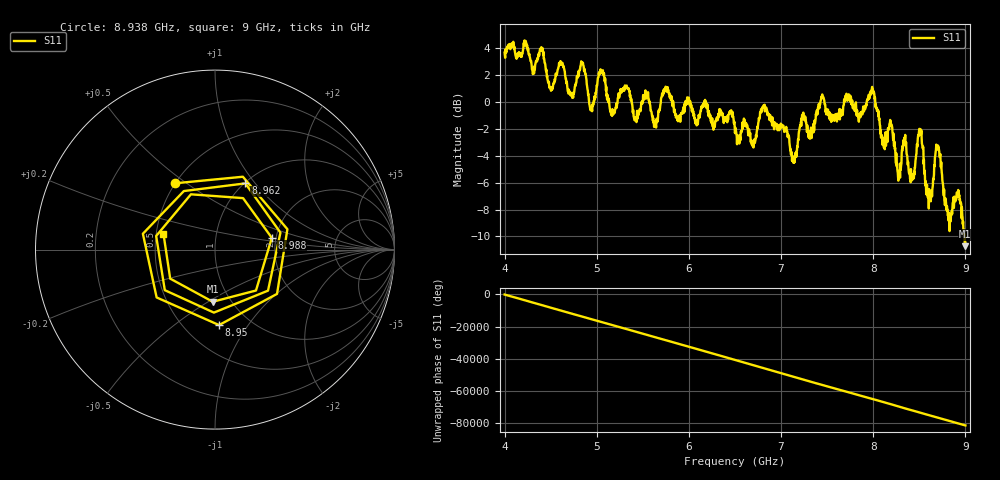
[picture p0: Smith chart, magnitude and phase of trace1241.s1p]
! Created with skrf 1.8.0 (http://scikit-rf.org).
# Hz S RI R 50.0
!freq ReS11 ImS11
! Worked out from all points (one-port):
!   1601 points, 4 GHz to 9 GHz, reference 50 ohm
!   lowest |S11| = -10.7 dB at 8.994 GHz (marker M1), VSWR 1.82, Z = 41.3 - j26.2 ohm
!   |S11| at or under -10 dB: 8.991577 GHz to end of sweep
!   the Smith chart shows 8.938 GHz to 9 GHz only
!   S11 on the Smith chart (normalised r, x): 8.938 GHz: 0.50, +0.45; 8.95 GHz: 0.73, -0.74; 8.962 GHz: 1.01, +0.89; 8.988 GHz: 1.90, +0.28; 9 GHz: 0.55, +0.11
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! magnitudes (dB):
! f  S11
! 4 GHz  3.7
! 4.625 GHz  2.9
! 4.728 GHz  0.5
! 4.847 GHz  2.9
! 4.941 GHz  -0.4
! 5.044 GHz  2.2
! 5.162 GHz  -0.9
! 5.25 GHz  0.6
! 5.875 GHz  -1.3
! 6.5 GHz  -2.3
! 6.697 GHz  -3.0
! 6.822 GHz  -0.2
! 7.125 GHz  -4.4
! 7.444 GHz  0.5
! 7.75 GHz  0.0
! 7.994 GHz  1.0
! 8.106 GHz  -3.1
! 8.375 GHz  -4.7
! 8.506 GHz  -2.3
! 8.6 GHz  -6.8
! 8.703 GHz  -3.2
! 8.816 GHz  -8.8
! 8.938 GHz  -7.3
! 8.95 GHz  -7.5
! 8.962 GHz  -7.8
! 8.988 GHz  -9.8
! 8.994 GHz  -10.7
! 9 GHz  -10.5
